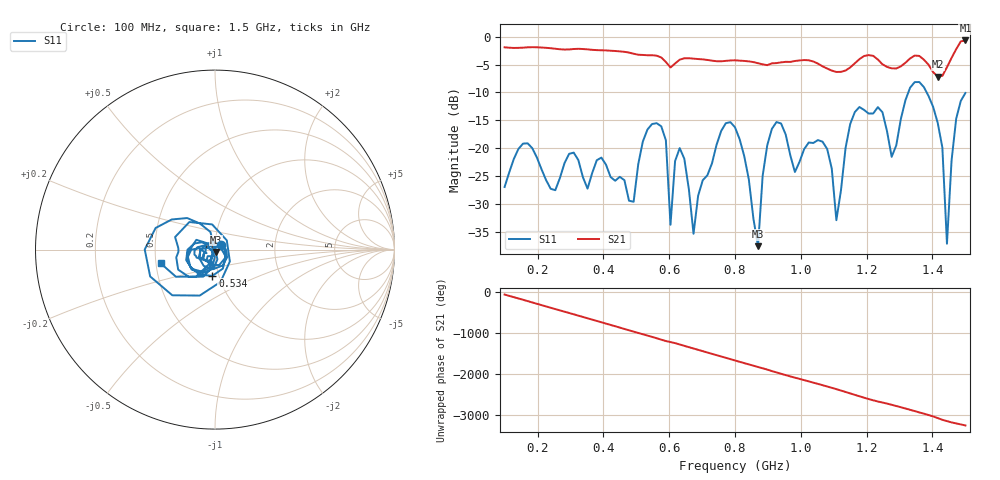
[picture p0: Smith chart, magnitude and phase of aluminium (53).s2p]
! NanoVNA-App
! Date: 2025-09-26 09:58:28
! Start: 100MHz Stop: 1,5GHz Points: 101
! S-Parameter data: F S11 S21 S12 S22
# Hz S RI R 50
!  Frequency  S11_Real  S11_Imag  S21_Real  S21_Imag  S12_Real  S12_Imag  S22_Real  S22_Imag
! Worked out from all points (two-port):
!   101 points, 100 MHz to 1.5 GHz, reference 50 ohm
!   highest |S21| = -0.68 dB at 1.5 GHz (marker M1); lowest = -7.2 dB at 1.416 GHz (marker M2)
!   |S21| within 3 dB of the highest: start of sweep to 573.7 MHz; 1.187 GHz to 1.225 GHz (38.16 MHz wide, 3.16 % of centre)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
!   lowest |S11| = -37.6 dB at 870 MHz (marker M3), VSWR 1.03, Z = 50.4 - j1.26 ohm
!   |S11| at or under -10 dB: start of sweep to 1.327 GHz; 1.382 GHz to end of sweep
!   S12 and S22 are empty: the file has one direction only
!   S11 on the Smith chart (normalised r, x): 100 MHz: 1.07, +0.06; 534 MHz: 0.93, -0.28; 1.5 GHz: 0.53, -0.09
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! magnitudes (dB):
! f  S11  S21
! 100 MHz  -27.0  -1.9
! 156 MHz  -19.2  -2.0
! 338 MHz  -25.2  -2.2
! 492 MHz  -29.6  -3.1
! 534 MHz  -16.7  -3.3
! 576 MHz  -16.1  -3.7
! 604 MHz  -33.8  -5.5
! 632 MHz  -20.0  -4.1
! 674 MHz  -35.4  -3.9
! 800 MHz  -16.3  -4.2
! 870 MHz  -37.6  -4.8
! 912 MHz  -16.6  -4.8
! 1.038 GHz  -19.1  -4.5
! 1.08 GHz  -20.2  -5.7
! 1.108 GHz  -32.9  -6.3
! 1.164 GHz  -13.5  -4.8
! 1.276 GHz  -21.6  -5.7
! 1.346 GHz  -8.2  -3.4
! 1.416 GHz  -15.5  -7.2
! 1.444 GHz  -37.2  -5.5
! 1.472 GHz  -14.7  -2.3
! 1.5 GHz  -10.1  -0.7
